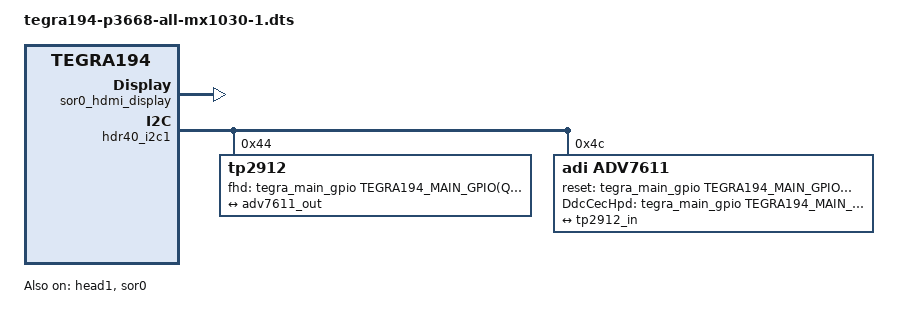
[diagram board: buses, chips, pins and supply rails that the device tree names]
/*
 * Top level DTS file for CVM:P3668-0001 and CVB:P3509-0000.
 *
 * Copyright (c) 2019-2020, NVIDIA CORPORATION.  All rights reserved.
 *
 * This program is free software; you can redistribute it and/or modify
 * it under the terms of the GNU General Public License as published by
 * the Free Software Foundation; version 2 of the License.
 *
 * This program is distributed in the hope that it will be useful, but WITHOUT
 * ANY WARRANTY; without even the implied warranty of MERCHANTABILITY or
 * FITNESS FOR A PARTICULAR PURPOSE.  See the GNU General Public License for
 * more details.
 */

/dts-v1/;
#include "common/tegra194-p3668-ai-blox-common.dtsi"
#include "common/tegra194-p3509-0000-a00.dtsi"
#include "common/tegra194-mx1030-1-gpio.dtsi"

/* EDID contents
 * 	Section "Monitor"
 * 			Identifier "AI-BLOX DISP"
 * 			ModelName "AI-BLOX DISP"
 * 			VendorName "AIB"
 * 			# Monitor Manufactured week 22 of 2019
 * 			# EDID version 1.3
 * 			# Digital Display
 * 			DisplaySize 530 300
 * 			Gamma 2.20
 * 			Option "DPMS" "true"
 * 			Horizsync 30-90
 * 			VertRefresh 30-75
 * 			# Maximum pixel clock is 250MHz
 * 	
 * 			#Extension block found. Parsing...
 * 			Modeline        "Mode 3" 37.12 1280 1390 1430 1650 720 725 730 750 +hsync +vsync
 * 			Modeline        "Mode 0" 37.12 1280 1390 1430 1650 720 725 730 750 +hsync +vsync
 * 			Modeline        "Mode 1" 148.500 1920 2008 2052 2200 1080 1084 1089 1125 +hsync +vsync
 * 			Modeline        "Mode 2" 74.250 1280 1390 1420 1650 720 725 730 750 +hsync +vsync
 * 			Modeline        "Mode 4" 74.25 1280 1390 1430 1650 720 725 730 750 +hsync +vsync
 * 			Modeline        "Mode 5" 74.25 1920 2008 2052 2200 1080 1084 1089 1125 +hsync +vsync
 * 			Modeline        "Mode 6" 148.50 1920 2008 2052 2200 1080 1084 1089 1125 +hsync +vsync
 * 			Option "PreferredMode" "Mode 3"
 * 	EndSection
 */
#define EDID_HDMI_AND_VISY \
[00 ff ff ff ff ff ff 00  05 22 a1 24 01 01 01 01 \
 16 1d 01 03 80 35 1e 78  ea 0e f5 a5 55 50 9e 26 \
 10 50 54 00 00 00 01 01  01 01 01 01 01 01 01 01 \
 01 01 01 01 01 01 80 0e  00 72 51 d0 1e 20 6e 28 \
 55 00 13 2b 21 00 00 1e  00 00 00 fd 00 1e 4b 1e \
 5a 19 00 0a 20 20 20 20  20 20 00 00 00 fc 00 41 \
 49 2d 42 4c 4f 58 20 44  49 53 50 0a 00 00 00 ff \
 00 41 49 42 32 30 32 34  30 39 32 35 0a 20 01 7d \
 02 03 16 f1 42 90 04 65  03 0c 00 10 00 68 1a 00 \
 00 01 01 28 4b e6 80 0e  00 72 51 d0 1e 20 6e 28 \
 55 00 13 2b 21 00 00 1e  01 1d 00 72 51 d0 1e 20 \
 6e 28 55 00 13 2b 21 00  00 1e 01 1d 80 18 71 38 \
 2d 40 58 2c 45 00 13 2b  21 00 00 1e 02 3a 80 18 \
 71 38 2d 40 58 2c 45 00  13 2b 21 00 00 1e 00 00 \
 00 00 00 00 00 00 00 00  00 00 00 00 00 00 00 00 \
 00 00 00 00 00 00 00 00  00 00 00 00 00 00 00 5d]

&head0 {
    status = "disabled";
};

&sor1 {
    status = "disabled";
};

&sor1_hdmi_display {
    status = "disabled";
};

&head1 {
	status = "okay";
	nvidia,dc-connector = <&sor0>;
	nvidia,dc-flags = <TEGRA_DC_FLAG_ENABLED>;
};

&sor0 {
	status = "okay";
	nvidia,active-panel = <&sor0_hdmi_display>;
};

&sor0_hdmi_display {
	status = "okay";
	// nvidia,edid = EDID_HDMI_AND_VISY;
	display-timings {
		1280x720-32-30Hz-37125000 {
			clock-frequency = <37125000>;
			hactive = <1280>;
			vactive = <720>;
			hfront-porch = <110>;
			hback-porch = <220>;
			hsync-len = <40>;
			vfront-porch = <5>;
			vback-porch = <20>;
			vsync-len = <5>;
			nvidia,h-ref-to-sync = <1>;
			nvidia,v-ref-to-sync = <1>;
		};
		1280x720-32-29_9Hz {
			clock-frequency = <35250000>;
			hactive = <1280>;
			vactive = <720>;
			hfront-porch = <40>;
			hback-porch = <160>;
			hsync-len = <120>;
			vfront-porch = <3>;
			vback-porch = <8>;
			vsync-len = <5>;
			nvidia,h-ref-to-sync = <1>;
			nvidia,v-ref-to-sync = <1>;
		};
		1280x720-32-60Hz {
			clock-frequency = <74250000>;
			hactive = <1280>;
			vactive = <720>;
			hfront-porch = <110>;
			hback-porch = <220>;
			hsync-len = <40>;
			vfront-porch = <5>;
			vback-porch = <20>;
			vsync-len = <5>;
			nvidia,h-ref-to-sync = <1>;
			nvidia,v-ref-to-sync = <1>;
		};
		1920x1080-32-30Hz {
			clock-frequency = <74250000>;
			hactive = <1920>;
			vactive = <1080>;
			hfront-porch = <88>;
			hback-porch = <148>;
			hsync-len = <44>;
			vfront-porch = <4>;
			vback-porch = <36>;
			vsync-len = <5>;
			nvidia,h-ref-to-sync = <1>;
			nvidia,v-ref-to-sync = <1>;
		};
	};
	disp-default-out {
		nvidia,out-flags = <TEGRA_DC_OUT_HOTPLUG_LOW>;
		nvidia,out-parent-clk = "plld2";
	};
};

/ {
	nvidia,dtsfilename = __FILE__;
	nvidia,dtbbuildtime = __DATE__, __TIME__;

	compatible = "nvidia,p3449-0000+p3668-0000", "nvidia,p3449-0000+p3668-0001", "nvidia,p3509-0000+p3668-0000", "nvidia,p3509-0000+p3668-0001", "nvidia,tegra194";

    thermal-fan-est {
        status = "disabled";
    };

    tachometer@39c0000 {
        status = "disbaled";
    };
};

&hdr40_i2c1 {
	tp2912@44 {
		compatible = "tp2912";
		reg = <0x44>;

		fhd-gpio = <&tegra_main_gpio TEGRA194_MAIN_GPIO(Q, 1) GPIO_ACTIVE_HIGH>;

		#address-cells = <1>;
		#size-cells = <0>;

		port@0 {
			reg = <0>;
			tp2912_in: endpoint {
				remote-endpoint = <&adv7611_out>;
			};
		};

		port@1 {
			reg = <1>;
		};
	};

	adv7611@4c {
		compatible = "adi,adv7611";
		reg = <0x4c>;

		reset-gpios = <&tegra_main_gpio TEGRA194_MAIN_GPIO(Q, 3) GPIO_ACTIVE_LOW>;
		DdcCecHpd-gpios = <&tegra_main_gpio TEGRA194_MAIN_GPIO(S, 4) GPIO_ACTIVE_HIGH>;

		#address-cells = <1>;
		#size-cells = <0>;

		port@0 {
			reg = <0>;
		};

		port@1 {
			reg = <1>;
			adv7611_out: endpoint {
				remote-endpoint = <&tp2912_in>;
				default-input = <0>;
				// edid = EDID_HDMI_AND_VISY;
			};
		};
	};
};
